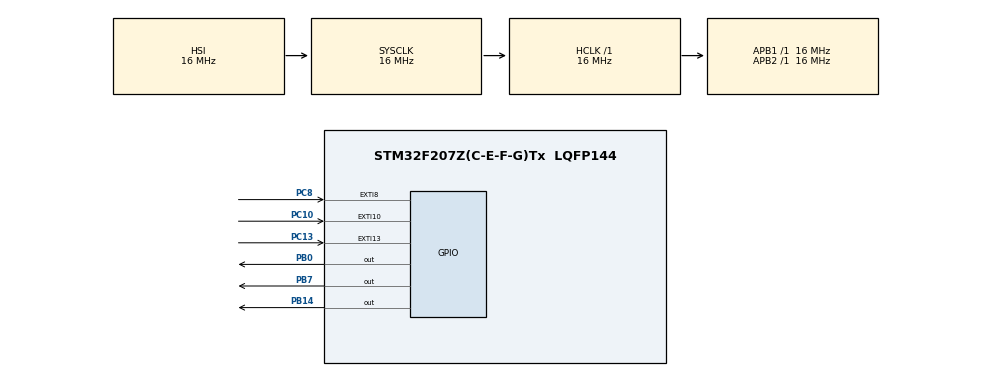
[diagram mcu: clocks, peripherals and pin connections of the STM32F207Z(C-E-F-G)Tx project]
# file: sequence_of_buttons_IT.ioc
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Mcu.Family=STM32F2
Mcu.Name=STM32F207Z(C-E-F-G)Tx
Mcu.Package=LQFP144
NVIC.EXTI15_10_IRQn=true\:0\:0\:false\:false\:true\:true\:true\:true
NVIC.EXTI9_5_IRQn=true\:0\:0\:false\:false\:true\:true\:true\:true
NVIC.PriorityGroup=NVIC_PRIORITYGROUP_4
PB0.Signal=GPIO_Output
PB14.Signal=GPIO_Output
PB7.Signal=GPIO_Output
PC10.GPIO_ModeDefaultEXTI=GPIO_MODE_IT_RISING
PC10.GPIO_PuPd=GPIO_PULLDOWN
PC10.Signal=GPXTI10
PC13.GPIO_ModeDefaultEXTI=GPIO_MODE_IT_FALLING
PC13.GPIO_PuPd=GPIO_PULLDOWN
PC13.Signal=GPXTI13
PC8.GPIO_ModeDefaultEXTI=GPIO_MODE_IT_RISING
PC8.GPIO_PuPd=GPIO_PULLDOWN
PC8.Signal=GPXTI8
ProjectManager.HeapSize=0x200
ProjectManager.StackSize=0x400
ProjectManager.TargetToolchain=STM32CubeIDE
RCC.48MHZClocksFreq_Value=48000000
RCC.AHBFreq_Value=16000000
RCC.APB1Freq_Value=16000000
RCC.APB2Freq_Value=16000000
RCC.CortexFreq_Value=16000000
RCC.HSE_VALUE=25000000
RCC.HSI_VALUE=16000000
RCC.LSE_VALUE=32768
RCC.SYSCLKFreq_VALUE=16000000
RCC.VCOOutputFreq_Value=192000000
board=custom

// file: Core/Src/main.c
/* USER CODE BEGIN Header */
/**
  ******************************************************************************
  * @file           : main.c
  * @brief          : Main program body
  ******************************************************************************
  * @attention
  *
  * Copyright (c) 2023 STMicroelectronics.
  * All rights reserved.
  *
  * This software is licensed under terms that can be found in the LICENSE file
  * in the root directory of this software component.
  * If no LICENSE file comes with this software, it is provided AS-IS.
  *
  ******************************************************************************
  */
/* USER CODE END Header */
#include "main.h"

/* USER CODE BEGIN PV */
static int index = 0;
int sequence[4] = {8, 10, 8, 8};
/* USER CODE END PV */

void SystemClock_Config(void);
static void MX_GPIO_Init(void);

/* USER CODE BEGIN 0 */
void HAL_GPIO_EXTI_Callback(uint16_t GPIO_Pin)
{
		if (GPIO_Pin == GPIO_PIN_8)
		{
			if (sequence[index] == 8)
			{
				index++;
				HAL_GPIO_TogglePin(GPIOB, GPIO_PIN_7);
			}
			else
			{
				index = 0;
			}
		 }
		else if (GPIO_Pin == GPIO_PIN_10)
		{
			 if (sequence[index] == 10)
			 {
				 index++;
				 HAL_GPIO_TogglePin(GPIOB, GPIO_PIN_7);
			 }
			 else
			 {
				 index = 0;
			 }
		}
/*		else if (GPIO_Pin == GPIO_PIN_13)
		  {
			  if (sequence[index] == 13)
			  {
			  	 HAL_GPIO_TogglePin(GPIOB, GPIO_PIN_7);;
			  	 //HAL_GPIO_WritePin(GPIOB, GPIO_PIN_7, GPIO_PIN_SET);
			  	 //HAL_Delay(300);
			  	 //HAL_GPIO_WritePin(GPIOB, GPIO_PIN_7, GPIO_PIN_RESET);
			  }
			  else
				 index = 0;
			  index++;
		  } */
		if (index == 4)
		{
			  HAL_GPIO_WritePin(GPIOB, GPIO_PIN_14, GPIO_PIN_SET);
		}
}
/* USER CODE END 0 */

int main(void)
{

  /* MCU Configuration--------------------------------------------------------*/

  /* Reset of all peripherals, Initializes the Flash interface and the Systick. */
  HAL_Init();

  /* Configure the system clock */
  SystemClock_Config();

  /* Initialize all configured peripherals */
  MX_GPIO_Init();

  /* Infinite loop */
  while (1)
  {

  }
}

void SystemClock_Config(void)
{
  RCC_OscInitTypeDef RCC_OscInitStruct = {0};
  RCC_ClkInitTypeDef RCC_ClkInitStruct = {0};

  /** Initializes the RCC Oscillators according to the specified parameters
  * in the RCC_OscInitTypeDef structure.
  */
  RCC_OscInitStruct.OscillatorType = RCC_OSCILLATORTYPE_HSI;
  RCC_OscInitStruct.HSIState = RCC_HSI_ON;
  RCC_OscInitStruct.HSICalibrationValue = RCC_HSICALIBRATION_DEFAULT;
  RCC_OscInitStruct.PLL.PLLState = RCC_PLL_NONE;
  if (HAL_RCC_OscConfig(&RCC_OscInitStruct) != HAL_OK)
  {
    Error_Handler();
  }

  /** Initializes the CPU, AHB and APB buses clocks
  */
  RCC_ClkInitStruct.ClockType = RCC_CLOCKTYPE_HCLK|RCC_CLOCKTYPE_SYSCLK
                              |RCC_CLOCKTYPE_PCLK1|RCC_CLOCKTYPE_PCLK2;
  RCC_ClkInitStruct.SYSCLKSource = RCC_SYSCLKSOURCE_HSI;
  RCC_ClkInitStruct.AHBCLKDivider = RCC_SYSCLK_DIV1;
  RCC_ClkInitStruct.APB1CLKDivider = RCC_HCLK_DIV1;
  RCC_ClkInitStruct.APB2CLKDivider = RCC_HCLK_DIV1;

  if (HAL_RCC_ClockConfig(&RCC_ClkInitStruct, FLASH_LATENCY_0) != HAL_OK)
  {
    Error_Handler();
  }
}

static void MX_GPIO_Init(void)
{
  GPIO_InitTypeDef GPIO_InitStruct = {0};

  /* GPIO Ports Clock Enable */
  __HAL_RCC_GPIOC_CLK_ENABLE();
  __HAL_RCC_GPIOB_CLK_ENABLE();

  /*Configure GPIO pin Output Level */
  HAL_GPIO_WritePin(GPIOB, GPIO_PIN_0|GPIO_PIN_14|GPIO_PIN_7, GPIO_PIN_RESET);

  /*Configure GPIO pin : PC13 */
  GPIO_InitStruct.Pin = GPIO_PIN_13;
  GPIO_InitStruct.Mode = GPIO_MODE_IT_FALLING;
  GPIO_InitStruct.Pull = GPIO_PULLDOWN;
  HAL_GPIO_Init(GPIOC, &GPIO_InitStruct);

  /*Configure GPIO pins : PB0 PB14 PB7 */
  GPIO_InitStruct.Pin = GPIO_PIN_0|GPIO_PIN_14|GPIO_PIN_7;
  GPIO_InitStruct.Mode = GPIO_MODE_OUTPUT_PP;
  GPIO_InitStruct.Pull = GPIO_NOPULL;
  GPIO_InitStruct.Speed = GPIO_SPEED_FREQ_LOW;
  HAL_GPIO_Init(GPIOB, &GPIO_InitStruct);

  /*Configure GPIO pins : PC8 PC10 */
  GPIO_InitStruct.Pin = GPIO_PIN_8|GPIO_PIN_10;
  GPIO_InitStruct.Mode = GPIO_MODE_IT_RISING;
  GPIO_InitStruct.Pull = GPIO_PULLDOWN;
  HAL_GPIO_Init(GPIOC, &GPIO_InitStruct);

  /* EXTI interrupt init*/
  HAL_NVIC_SetPriority(EXTI9_5_IRQn, 0, 0);
  HAL_NVIC_EnableIRQ(EXTI9_5_IRQn);

  HAL_NVIC_SetPriority(EXTI15_10_IRQn, 0, 0);
  HAL_NVIC_EnableIRQ(EXTI15_10_IRQn);

}

void Error_Handler(void)
{
  __disable_irq();
  while (1)
  {
  }
}
